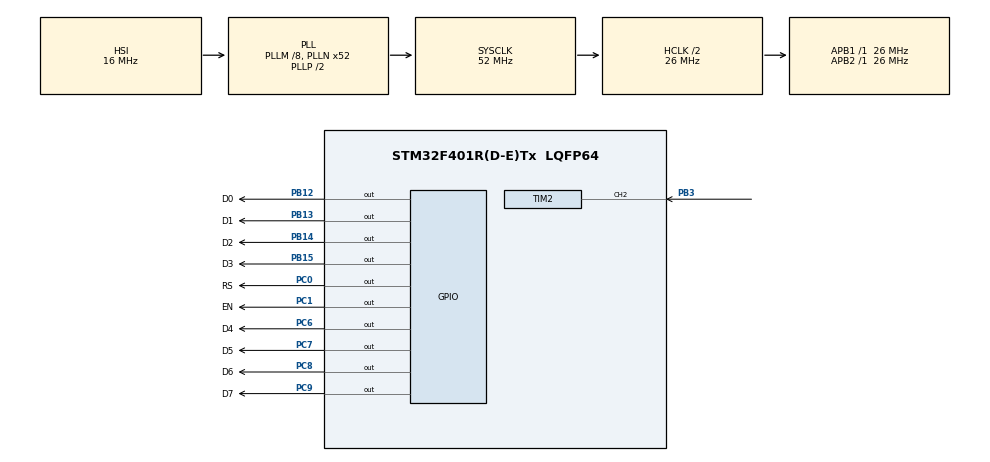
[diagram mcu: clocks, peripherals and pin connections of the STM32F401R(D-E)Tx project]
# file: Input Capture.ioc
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Mcu.Family=STM32F4
Mcu.Name=STM32F401R(D-E)Tx
Mcu.Package=LQFP64
NVIC.PriorityGroup=NVIC_PRIORITYGROUP_4
NVIC.TIM2_IRQn=true\:0\:0\:false\:false\:true\:true\:true
NVIC.TIM3_IRQn=true\:0\:0\:false\:false\:true\:true\:true
PB12.GPIO_Label=D0
PB12.Signal=GPIO_Output
PB13.GPIO_Label=D1
PB13.Signal=GPIO_Output
PB14.GPIO_Label=D2
PB14.Signal=GPIO_Output
PB15.GPIO_Label=D3
PB15.Signal=GPIO_Output
PB3.Signal=S_TIM2_CH2
PC0.GPIO_Label=RS
PC0.Signal=GPIO_Output
PC1.GPIO_Label=EN
PC1.Signal=GPIO_Output
PC6.GPIO_Label=D4
PC6.Signal=GPIO_Output
PC7.GPIO_Label=D5
PC7.Signal=GPIO_Output
PC8.GPIO_Label=D6
PC8.Signal=GPIO_Output
PC9.GPIO_Label=D7
PC9.Signal=GPIO_Output
ProjectManager.HeapSize=0x200
ProjectManager.StackSize=0x400
ProjectManager.TargetToolchain=STM32CubeIDE
RCC.48MHZClocksFreq_Value=26000000
RCC.AHBCLKDivider=RCC_SYSCLK_DIV2
RCC.AHBFreq_Value=26000000
RCC.APB1Freq_Value=26000000
RCC.APB1TimFreq_Value=26000000
RCC.APB2Freq_Value=26000000
RCC.APB2TimFreq_Value=26000000
RCC.CortexFreq_Value=26000000
RCC.HCLKFreq_Value=26000000
RCC.HSE_VALUE=25000000
RCC.HSI_VALUE=16000000
RCC.LSE_VALUE=32768
RCC.PLLM=8
RCC.PLLN=52
RCC.SYSCLKFreq_VALUE=52000000
RCC.SYSCLKSource=RCC_SYSCLKSOURCE_PLLCLK
RCC.VCOOutputFreq_Value=104000000
SH.S_TIM2_CH2.0=TIM2_CH2,TriggerSource_TI2FP2
TIM2.Period=1000
TIM2.Prescaler=0
TIM3.Period=100
TIM3.Prescaler=26000
VP_TIM2_VS_ControllerModeClock.Mode=Clock Mode
VP_TIM3_VS_ClockSourceINT.Mode=Internal
board=custom

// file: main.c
/* USER CODE BEGIN Header */
/**
  ******************************************************************************
  * @file           : main.c
  * @brief          : Main program body
  ******************************************************************************
  * @attention
  *
  * <h2><center>&copy; Copyright (c) 2020 STMicroelectronics.
  * All rights reserved.</center></h2>
  *
  * This software component is licensed by ST under BSD 3-Clause license,
  * the "License"; You may not use this file except in compliance with the
  * License. You may obtain a copy of the License at:
  *                        opensource.org/licenses/BSD-3-Clause
  *
  ******************************************************************************
  */
/* USER CODE END Header */

#include "main.h"

/* USER CODE BEGIN Includes */
#include "stdio.h"
#include "stm32f4xx_hal.h"

/* USER CODE END Includes */

TIM_HandleTypeDef htim2;
TIM_HandleTypeDef htim3;

void SystemClock_Config(void);
static void MX_GPIO_Init(void);
static void MX_TIM2_Init(void);
static void MX_TIM3_Init(void);

/* USER CODE BEGIN 0 */
int cntr = 0;
int freq = 0;

/* USER CODE END 0 */

int main(void)
{

  /* MCU Configuration--------------------------------------------------------*/

  /* Reset of all peripherals, Initializes the Flash interface and the Systick. */
  HAL_Init();

  /* Configure the system clock */
  SystemClock_Config();

  /* Initialize all configured peripherals */
  MX_GPIO_Init();
  MX_TIM2_Init();
  MX_TIM3_Init();
  /* USER CODE BEGIN 2 */
  LCD1602_Begin8BIT(GPIOC,GPIO_PIN_0,GPIO_PIN_1,GPIOB,GPIO_PIN_12,GPIO_PIN_13,GPIO_PIN_14,GPIO_PIN_15,GPIOC,GPIO_PIN_6,GPIO_PIN_7,GPIO_PIN_8,GPIO_PIN_9);
  HAL_TIM_Base_Start_IT(&htim3);
  HAL_TIM_Base_Start(&htim2);
  TIM2->CCMR1 |= 0x0100;

  /* USER CODE END 2 */

  /* Infinite loop */
  /* USER CODE BEGIN WHILE */
  while (1)
  {
	  if(cntr == 10)
	  {
		  cntr = 0;
	  LCD1602_clear();
	  LCD1602_1stLine();
	  freq = TIM2->CNT;
	  LCD1602_print ("Frequency: ");
	  LCD1602_PrintInt(freq);
	  HAL_Delay(30);

	  }
    /* USER CODE END WHILE */

  }
}

void SystemClock_Config(void)
{
  RCC_OscInitTypeDef RCC_OscInitStruct = {0};
  RCC_ClkInitTypeDef RCC_ClkInitStruct = {0};

  /** Configure the main internal regulator output voltage
  */
  __HAL_RCC_PWR_CLK_ENABLE();
  __HAL_PWR_VOLTAGESCALING_CONFIG(PWR_REGULATOR_VOLTAGE_SCALE2);
  /** Initializes the CPU, AHB and APB busses clocks
  */
  RCC_OscInitStruct.OscillatorType = RCC_OSCILLATORTYPE_HSI;
  RCC_OscInitStruct.HSIState = RCC_HSI_ON;
  RCC_OscInitStruct.HSICalibrationValue = RCC_HSICALIBRATION_DEFAULT;
  RCC_OscInitStruct.PLL.PLLState = RCC_PLL_ON;
  RCC_OscInitStruct.PLL.PLLSource = RCC_PLLSOURCE_HSI;
  RCC_OscInitStruct.PLL.PLLM = 8;
  RCC_OscInitStruct.PLL.PLLN = 52;
  RCC_OscInitStruct.PLL.PLLP = RCC_PLLP_DIV2;
  RCC_OscInitStruct.PLL.PLLQ = 4;
  if (HAL_RCC_OscConfig(&RCC_OscInitStruct) != HAL_OK)
  {
    Error_Handler();
  }
  /** Initializes the CPU, AHB and APB busses clocks
  */
  RCC_ClkInitStruct.ClockType = RCC_CLOCKTYPE_HCLK|RCC_CLOCKTYPE_SYSCLK
                              |RCC_CLOCKTYPE_PCLK1|RCC_CLOCKTYPE_PCLK2;
  RCC_ClkInitStruct.SYSCLKSource = RCC_SYSCLKSOURCE_PLLCLK;
  RCC_ClkInitStruct.AHBCLKDivider = RCC_SYSCLK_DIV2;
  RCC_ClkInitStruct.APB1CLKDivider = RCC_HCLK_DIV1;
  RCC_ClkInitStruct.APB2CLKDivider = RCC_HCLK_DIV1;

  if (HAL_RCC_ClockConfig(&RCC_ClkInitStruct, FLASH_LATENCY_0) != HAL_OK)
  {
    Error_Handler();
  }
}

static void MX_TIM2_Init(void)
{

  TIM_SlaveConfigTypeDef sSlaveConfig = {0};
  TIM_MasterConfigTypeDef sMasterConfig = {0};

  htim2.Instance = TIM2;
  htim2.Init.Prescaler = 0;
  htim2.Init.CounterMode = TIM_COUNTERMODE_UP;
  htim2.Init.Period = 1000;
  htim2.Init.ClockDivision = TIM_CLOCKDIVISION_DIV1;
  htim2.Init.AutoReloadPreload = TIM_AUTORELOAD_PRELOAD_DISABLE;
  if (HAL_TIM_Base_Init(&htim2) != HAL_OK)
  {
    Error_Handler();
  }
  sSlaveConfig.SlaveMode = TIM_SLAVEMODE_EXTERNAL1;
  sSlaveConfig.InputTrigger = TIM_TS_TI2FP2;
  sSlaveConfig.TriggerPolarity = TIM_TRIGGERPOLARITY_RISING;
  sSlaveConfig.TriggerFilter = 0;
  if (HAL_TIM_SlaveConfigSynchro(&htim2, &sSlaveConfig) != HAL_OK)
  {
    Error_Handler();
  }
  sMasterConfig.MasterOutputTrigger = TIM_TRGO_RESET;
  sMasterConfig.MasterSlaveMode = TIM_MASTERSLAVEMODE_DISABLE;
  if (HAL_TIMEx_MasterConfigSynchronization(&htim2, &sMasterConfig) != HAL_OK)
  {
    Error_Handler();
  }

}

static void MX_TIM3_Init(void)
{

  TIM_ClockConfigTypeDef sClockSourceConfig = {0};
  TIM_MasterConfigTypeDef sMasterConfig = {0};

  htim3.Instance = TIM3;
  htim3.Init.Prescaler = 26000;
  htim3.Init.CounterMode = TIM_COUNTERMODE_UP;
  htim3.Init.Period = 100;
  htim3.Init.ClockDivision = TIM_CLOCKDIVISION_DIV1;
  htim3.Init.AutoReloadPreload = TIM_AUTORELOAD_PRELOAD_DISABLE;
  if (HAL_TIM_Base_Init(&htim3) != HAL_OK)
  {
    Error_Handler();
  }
  sClockSourceConfig.ClockSource = TIM_CLOCKSOURCE_INTERNAL;
  if (HAL_TIM_ConfigClockSource(&htim3, &sClockSourceConfig) != HAL_OK)
  {
    Error_Handler();
  }
  sMasterConfig.MasterOutputTrigger = TIM_TRGO_RESET;
  sMasterConfig.MasterSlaveMode = TIM_MASTERSLAVEMODE_DISABLE;
  if (HAL_TIMEx_MasterConfigSynchronization(&htim3, &sMasterConfig) != HAL_OK)
  {
    Error_Handler();
  }

}

static void MX_GPIO_Init(void)
{
  GPIO_InitTypeDef GPIO_InitStruct = {0};

  /* GPIO Ports Clock Enable */
  __HAL_RCC_GPIOC_CLK_ENABLE();
  __HAL_RCC_GPIOB_CLK_ENABLE();

  /*Configure GPIO pin Output Level */
  HAL_GPIO_WritePin(GPIOC, RS_Pin|EN_Pin|D4_Pin|D5_Pin
                          |D6_Pin|D7_Pin, GPIO_PIN_RESET);

  /*Configure GPIO pin Output Level */
  HAL_GPIO_WritePin(GPIOB, D0_Pin|D1_Pin|D2_Pin|D3_Pin, GPIO_PIN_RESET);

  /*Configure GPIO pins : RS_Pin EN_Pin D4_Pin D5_Pin
                           D6_Pin D7_Pin */
  GPIO_InitStruct.Pin = RS_Pin|EN_Pin|D4_Pin|D5_Pin
                          |D6_Pin|D7_Pin;
  GPIO_InitStruct.Mode = GPIO_MODE_OUTPUT_PP;
  GPIO_InitStruct.Pull = GPIO_NOPULL;
  GPIO_InitStruct.Speed = GPIO_SPEED_FREQ_LOW;
  HAL_GPIO_Init(GPIOC, &GPIO_InitStruct);

  /*Configure GPIO pins : D0_Pin D1_Pin D2_Pin D3_Pin */
  GPIO_InitStruct.Pin = D0_Pin|D1_Pin|D2_Pin|D3_Pin;
  GPIO_InitStruct.Mode = GPIO_MODE_OUTPUT_PP;
  GPIO_InitStruct.Pull = GPIO_NOPULL;
  GPIO_InitStruct.Speed = GPIO_SPEED_FREQ_LOW;
  HAL_GPIO_Init(GPIOB, &GPIO_InitStruct);

}

void Error_Handler(void)
{
}

/************************ (C) COPYRIGHT STMicroelectronics *****END OF FILE****/
